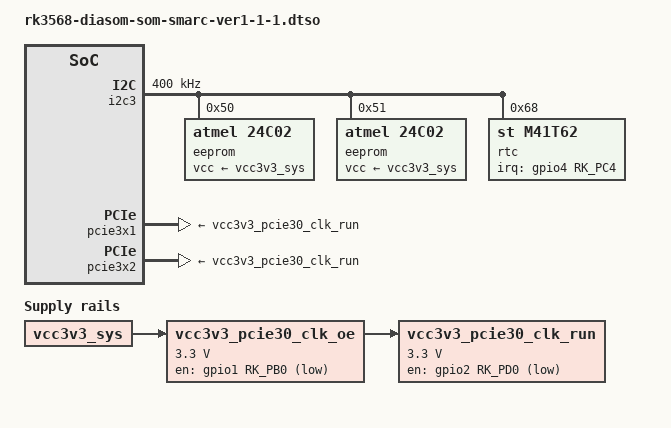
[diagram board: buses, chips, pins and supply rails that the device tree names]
/* SPDX-License-Identifier: GPL-2.0+ */
/* SPDX-FileCopyrightText: Alexander Shiyan <shc_work@mail.ru> */

/dts-v1/;
/plugin/;

#include <dt-bindings/gpio/gpio.h>
#include <dt-bindings/interrupt-controller/irq.h>
#include <dt-bindings/pinctrl/rockchip.h>

&{/} {
	aliases {
		rtc0 = &rtc;
	};

	vcc3v3_pcie30_clk_oe: vcc3v3-pcie30-clk-oe-regulator {
		pinctrl-names = "default";
		pinctrl-0 = <&pcie30_clk_oe_pins>;
		compatible = "regulator-fixed";
		gpio = <&gpio1 RK_PB0 GPIO_ACTIVE_LOW>;
		regulator-name = "vcc3v3_pcie30_clk_oe";
		regulator-min-microvolt = <3300000>;
		regulator-max-microvolt = <3300000>;
		startup-delay-us = <20000>;
		vin-supply = <&vcc3v3_sys>;
	};

	vcc3v3_pcie30_clk_run: vcc3v3-pcie30-clk-run-regulator {
		pinctrl-names = "default";
		pinctrl-0 = <&pcie30_clk_run_pins>;
		compatible = "regulator-fixed";
		gpio = <&gpio2 RK_PD0 GPIO_ACTIVE_LOW>;
		regulator-name = "vcc3v3_pcie30_clk_run";
		regulator-min-microvolt = <3300000>;
		regulator-max-microvolt = <3300000>;
		startup-delay-us = <20000>;
		vin-supply = <&vcc3v3_pcie30_clk_oe>;
	};
};

&i2c3 {
	clock-frequency = <400000>;
	#address-cells = <1>;
	#size-cells = <0>;

	/* 24aa025e48 */
	eeprom@50 {
		compatible = "atmel,24c02";
		reg = <0x50>;
		pagesize = <16>;
		vcc-supply = <&vcc3v3_sys>;

		nvmem-layout {
			compatible = "fixed-layout";
			#address-cells = <1>;
			#size-cells = <1>;

			mac0: mac-address@fa {
				reg = <0xfa 0x06>;
				read-only;
			};
		};
	};

	/* 24aa025e48 */
	eeprom@51 {
		compatible = "atmel,24c02";
		reg = <0x51>;
		pagesize = <16>;
		vcc-supply = <&vcc3v3_sys>;

		nvmem-layout {
			compatible = "fixed-layout";
			#address-cells = <1>;
			#size-cells = <1>;

			mac1: mac-address@fa {
				reg = <0xfa 0x06>;
				read-only;
			};
		};
	};

	/* m41t62lc6f */
	rtc: rtc@68 {
		pinctrl-names = "default";
		pinctrl-0 = <&rtc_pins>;
		compatible = "st,m41t62";
		reg = <0x68>;
		interrupt-parent = <&gpio4>;
		interrupts = <RK_PC4 IRQ_TYPE_LEVEL_LOW>;
		wakeup-source;
		#clock-cells = <0>;
	};
};

&gmac0 {
	nvmem-cells = <&mac0>;
	nvmem-cell-names = "mac-address";
};

&gmac1 {
	nvmem-cells = <&mac1>;
	nvmem-cell-names = "mac-address";
};

&gpio1 {
	gpio-line-names =
		/* GPIO1 A0-A7 */
		"I2C3_SDA", "I2C3_SCL", "GPIO0/CAM0_PWR#", "LCD0_BKLT_EN",
		"UART4_RX", "UART4_RTSn", "UART4_TX", "UART4_CTSn",
		/* GPIO1 B0-B7 */
		"PCIE30_CLK_IC_OE", "PIC20_WAKEn_M2", "GPIO1/CAM1_PWR#", "GPIO3/CAM1_RST#",
		"eMMC_D0", "eMMC_D1", "eMMC_D2", "eMMC_D3",
		/* GPIO1 C0-C7 */
		"eMMC_D4", "eMMC_D5", "eMMC_D6", "eMMC_D7",
		"eMMC_CMD", "eMMC_CLK", "eMMC_DS", "eMMC_RESET#",
		/* GPIO1 D0-D7 */
		"", "", "", "",
		"", "SDMMC_D0", "SDMMC_D1", "SDMMC0_D2";
};

&gpio2 {
	gpio-line-names =
		/* GPIO2 A0-A7 */
		"SDMMC0_D3", "SDMMC0_CMD", "SDMMC0_CLK", "GMAC0_RXD2",
		"GMAC0_RXD3", "GMAC0_RXCLK", "GMAC0_TXD2", "GMAC0_TXD3",
		/* GPIO2 B0-B7 */
		"GMAC0_TXCLK", "CAN2_RX", "CAN2_TX", "GMAC0_TXD0",
		"GMAC0_TXD1", "GMAC0_TXEN", "GMAC0_RXD0", "GMAC0_RXD1",
		/* GPIO2 C0-C7 */
		"GMAC0_RXDV_CRS", "SPI2_CK", "SPI2_DIN", "SPI2_DO",
		"SPI2_CS0#", "SPI2_CS1#", "PCIE30X2_PERSTn", "",
		/* GPIO2 D0-D7 */
		"PCIE30_CLK_IC_PDN", "GPIO_EXP_INT", "PCIE30X1_CLKREQn_M1", "PCIE30X1_WAKEn_M1",
		"PCIE30X2_CLKREQn_M1", "PCIE30X2_WAKEn_M1", "GPIO4/HDA_RST#", "UART8_TX";
};

&pcie30phy {
	phy-supply = <&vcc3v3_pcie30_clk_run>;
};

&pcie3x1 {
	vpcie3v3-supply = <&vcc3v3_pcie30_clk_run>;
};

&pcie3x2 {
	vpcie3v3-supply = <&vcc3v3_pcie30_clk_run>;
};

&pinctrl {
	pci {
		pcie30_clk_oe_pins: pcie30-clk-oe-pins {
			rockchip,pins =
				<1 RK_PB0 RK_FUNC_GPIO &pcfg_pull_none>;	/* PCIE30_CLK_IC_OE */
		};

		pcie30_clk_run_pins: pcie30-clk-run-pins {
			rockchip,pins =
				<2 RK_PD0 RK_FUNC_GPIO &pcfg_pull_none>;	/* PCIE30_CLK_IC_PDN */
		};
	};

	rtc {
		rtc_pins: rtc-pins {
			rockchip,pins =
				<4 RK_PC4 RK_FUNC_GPIO &pcfg_pull_none>;	/* RTC_IRQ */
		};
	};
};
